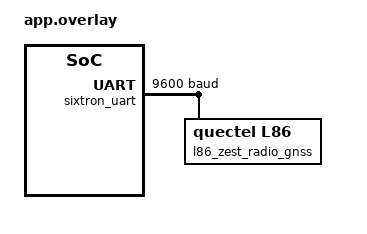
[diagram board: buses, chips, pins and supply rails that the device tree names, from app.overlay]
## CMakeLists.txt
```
# Copyright (c) 2024 CATIE
# SPDX-License-Identifier: Apache-2.0

cmake_minimum_required(VERSION 3.20.0)

find_package(Zephyr REQUIRED HINTS $ENV{ZEPHYR_BASE})
project(lx6)

FILE(GLOB app_sources src/main.c)
target_sources(app PRIVATE ${app_sources})
```

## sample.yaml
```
sample:
  name: Quectel LG77L & Lx0 & Lx6 & LC86L GNSS modem sample
tests:
  sample.default:
    tags: gnss
    integration_platforms:
      - zest_core_stm32l4a6rg
```

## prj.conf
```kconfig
CONFIG_GNSS=y
CONFIG_GNSS_SATELLITES=y

CONFIG_LOG=y
CONFIG_LOG_BUFFER_SIZE=8192
CONFIG_GNSS_DUMP_TO_LOG=y
CONFIG_GNSS_DUMP_TO_LOG_BUF_SIZE=1024
CONFIG_GNSS_LOG_LEVEL_DBG=y
CONFIG_MODEM_MODULES_LOG_LEVEL_DBG=y

CONFIG_UART_INTERRUPT_DRIVEN=y
```

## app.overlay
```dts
/*
 * Copyright (c) 2024 CATIE
 *
 * SPDX-License-Identifier: Apache-2.0
 */

 / {
	aliases{
		gnss = &l86_zest_radio_gnss;
	};
};

&sixtron_uart {
	status = "okay";
	current-speed = <9600>;
	l86_zest_radio_gnss: gnss {
		compatible = "quectel,l86";
		pps-mode = "GNSS_PPS_MODE_DISABLED";
		status = "okay";
	};
};
```

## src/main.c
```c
/*
 * Copyright (c) 2024, CATIE
 * SPDX-License-Identifier: Apache-2.0
 */

#include <stdio.h>
#include <zephyr/kernel.h>
#include <zephyr/device.h>
#include <zephyr/drivers/gnss.h>
#include <zephyr/logging/log.h>

#define GNSS_MODEM DEVICE_DT_GET(DT_ALIAS(gnss))

LOG_MODULE_REGISTER(gnss_sample, CONFIG_GNSS_LOG_LEVEL);

static const struct device *gnss_dev = DEVICE_DT_GET(DT_ALIAS(gnss));

static void gnss_data_cb(const struct device *dev, const struct gnss_data *data)
{
	if (data->info.fix_status != GNSS_FIX_STATUS_NO_FIX) {
		printf("Got a fix!\n");
	}
}
GNSS_DATA_CALLBACK_DEFINE(GNSS_MODEM, gnss_data_cb);

#if CONFIG_GNSS_SATELLITES
static void gnss_satellites_cb(const struct device *dev, const struct gnss_satellite *satellites,
			       uint16_t size)
{
	unsigned int tracked_count = 0;

	for (unsigned int i = 0; i != size; ++i) {
		tracked_count += satellites[i].is_tracked;
	}
	printf("%u satellite%s reported (of which %u tracked)!\n", size, size > 1 ? "s" : "",
	       tracked_count);
}
#endif
GNSS_SATELLITES_CALLBACK_DEFINE(GNSS_MODEM, gnss_satellites_cb);

int main(void)
{

	if (!device_is_ready(gnss_dev)) {
		printk("GNSS Device %s is not ready\n", gnss_dev->name);
		return 1;
	}

	while (1) {
		k_sleep(K_MSEC(1000));
	}
}
```
